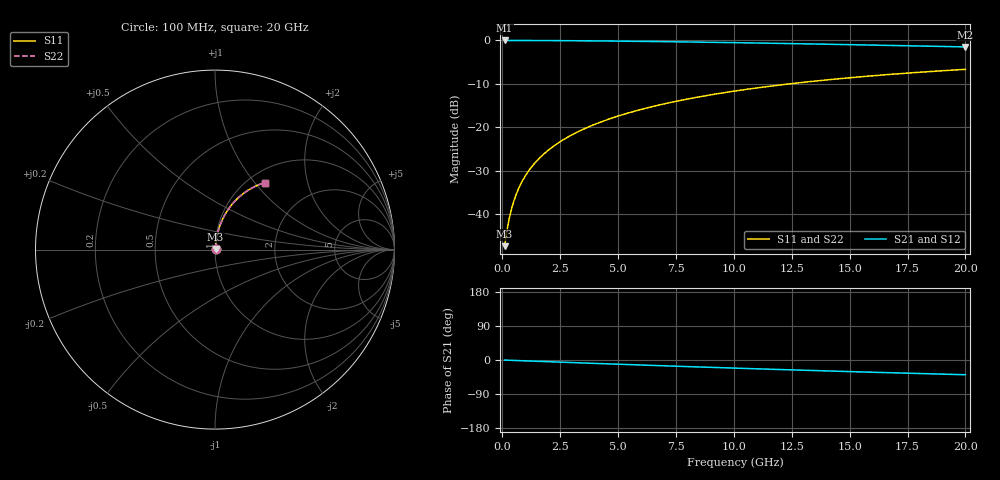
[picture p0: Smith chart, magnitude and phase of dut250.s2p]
! Touchstone file exported from HFSS 2024.1.0
!  File:  C:/UserFiles/LocalFiles/RDL_TSV_Batchsim/temp_RDL_top_250_1778688896.aedt
!  Generated:  12:17:14 AM May 14, 2026
!  Design:  RDL_top
!  Project:  temp_RDL_top_250_1778688896
!  Setup:  Setup1
!  Solution:  Sweep
! Variables:
!  dtsv = 10.80580581um
!  hbump = 3um
!  htsv = 97.45um
!  ldown = 100um
!  lrdl = 468.09um
!  p = 40
!  p1 = 55.88um
!  rhole = 1um
!  t = 450um
!  tdown = 3.915915916um
!  trdl = 4.76um
!  wdown = 15.38538539um
!  wrdl = 10.88um
# GHz S MA R 50.000000
! Terminal data exported
! Port[1] = Box2_T1
! Port[2] = Box2_T2
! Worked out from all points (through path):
!   200 points, 100 MHz to 20 GHz, reference 50 ohm
!   highest |S21| = -0.03 dB at 100 MHz (marker M1); lowest = -1.5 dB at 20 GHz (marker M2)
!   group delay of S21, straight-line fit = 5.4 ps
!   lowest |S11| = -47.4 dB at 100 MHz (marker M3), VSWR 1.01, Z = 50.3 + j0.281 ohm
!   |S11| at or under -10 dB: start of sweep to 12.43 GHz
!   |S22| runs from -47.4 to -6.7 dB; largest |S21 - S12| = 3.5e-15
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0.1  0.004285 40.6  0.9967 -0.2  0.9967 -0.2  0.004285 40.6
! Gamma 0 0 0 0
! Port Impedance 50 0 50 0
0.2  0.006439 59.6  0.9967 -0.5  0.9967 -0.5  0.006436 59.6
0.3  0.008928 68.4  0.9966 -0.7  0.9966 -0.7  0.008924 68.4
0.4  0.01154 73.1  0.9965 -0.9  0.9965 -0.9  0.01153 73.1
0.5  0.0142 76.0  0.9964 -1.2  0.9964 -1.2  0.01419 76.0
0.6  0.01688 77.9  0.9963 -1.4  0.9963 -1.4  0.01688 77.8
0.8  0.0223 80.1  0.996 -1.8  0.996 -1.8  0.02229 80.0
1.1  0.03045 81.6  0.9955 -2.5  0.9955 -2.5  0.03044 81.6
1.5  0.0413 82.3  0.9947 -3.4  0.9947 -3.4  0.0413 82.3
1.8  0.04942 82.4  0.994 -4.1  0.994 -4.1  0.04941 82.4
2.1  0.05751 82.3  0.9932 -4.8  0.9932 -4.8  0.0575 82.3
2.7  0.07362 81.8  0.9912 -6.1  0.9912 -6.1  0.07361 81.8
3.5  0.09494 80.8  0.9878 -7.9  0.9878 -7.9  0.09494 80.8
4.2  0.1135 79.8  0.9843 -9.4  0.9843 -9.4  0.1135 79.8
5  0.1345 78.6  0.9797 -11.2  0.9797 -11.2  0.1345 78.6
5.9  0.1579 77.1  0.9739 -13.1  0.9739 -13.1  0.1579 77.1
6.8  0.181 75.6  0.9675 -15.0  0.9675 -15.0  0.181 75.6
8.3  0.2187 73.0  0.9557 -18.0  0.9557 -18.0  0.2187 73.0
10.1  0.2625 69.9  0.9401 -21.6  0.9401 -21.6  0.2624 69.8
13.4  0.3375 64.2  0.9085 -27.8  0.9085 -27.8  0.3374 64.1
16.7  0.4048 58.7  0.8746 -33.5  0.8746 -33.5  0.4047 58.6
20  0.4638 53.5  0.8399 -38.9  0.8399 -38.9  0.4637 53.5
